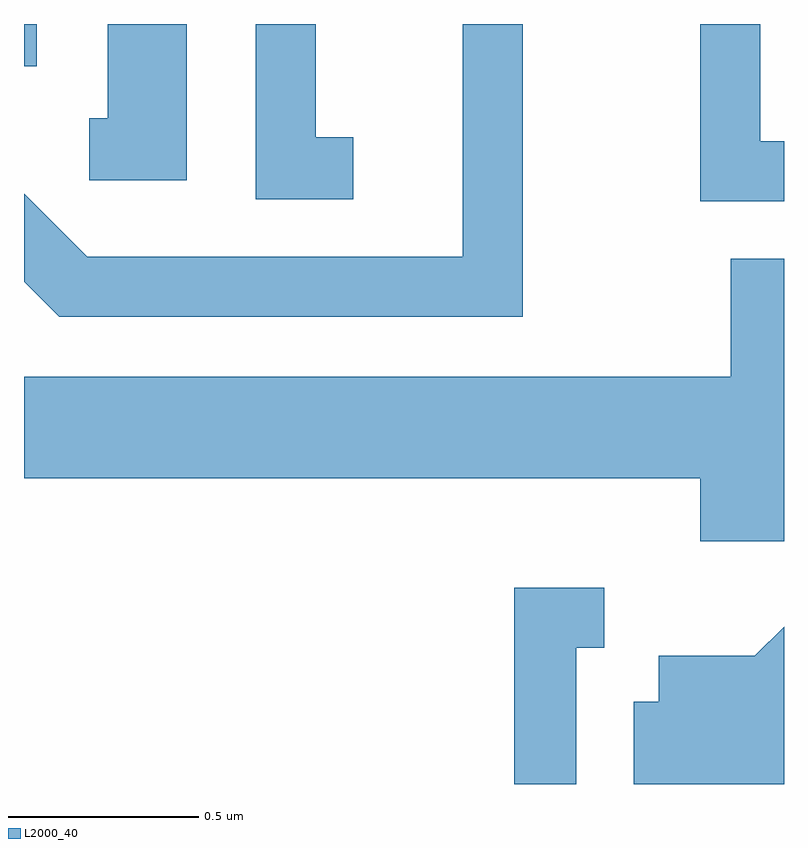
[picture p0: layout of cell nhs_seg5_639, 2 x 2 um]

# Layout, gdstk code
import gdstk
lib = gdstk.Library(unit=1e-6, precision=1e-09)
def R(c, l, rs):  # rectangles x0, y0, x1, y1
    for r in rs: c.add(gdstk.rectangle(r[:2], r[2:], *l))
def P(c, l, *ps):  # polygons
    for p in ps: c.add(gdstk.Polygon(p, *l))
L2000_40 = (2000, 40)

nhs_seg5_639 = lib.new_cell('nhs_seg5_639')
R(nhs_seg5_639, L2000_40, [(189.611,1488.961,189.644,1489.072)])
P(nhs_seg5_639, L2000_40, [(190.039,1489.072),(189.831,1489.072),(189.831,1488.824),(189.783,1488.824),(189.783,1488.661),(190.039,1488.661)],
  [(190.924,1489.072),(190.766,1489.072),(190.766,1488.459),(189.777,1488.459),(189.611,1488.625),(189.611,1488.394),(189.704,1488.301),(190.924,1488.301)],
  [(190.478,1488.774),(190.379,1488.774),(190.379,1489.072),(190.221,1489.072),(190.221,1488.611),(190.478,1488.611)],
  [(191.611,1488.764),(191.549,1488.764),(191.549,1489.072),(191.391,1489.072),(191.391,1488.606),(191.611,1488.606)],
  [(191.611,1488.454),(191.471,1488.454),(191.471,1488.144),(189.611,1488.144),(189.611,1487.876),(191.391,1487.876),(191.391,1487.711),(191.611,1487.711)],
  [(191.064,1487.431),(191.138,1487.431),(191.138,1487.589),(190.901,1487.589),(190.901,1487.072),(191.064,1487.072)],
  [(191.611,1487.486),(191.534,1487.409),(191.281,1487.409),(191.281,1487.289),(191.216,1487.289),(191.216,1487.072),(191.611,1487.072)])

lib.write_gds('nhs_seg5_639.gds')
